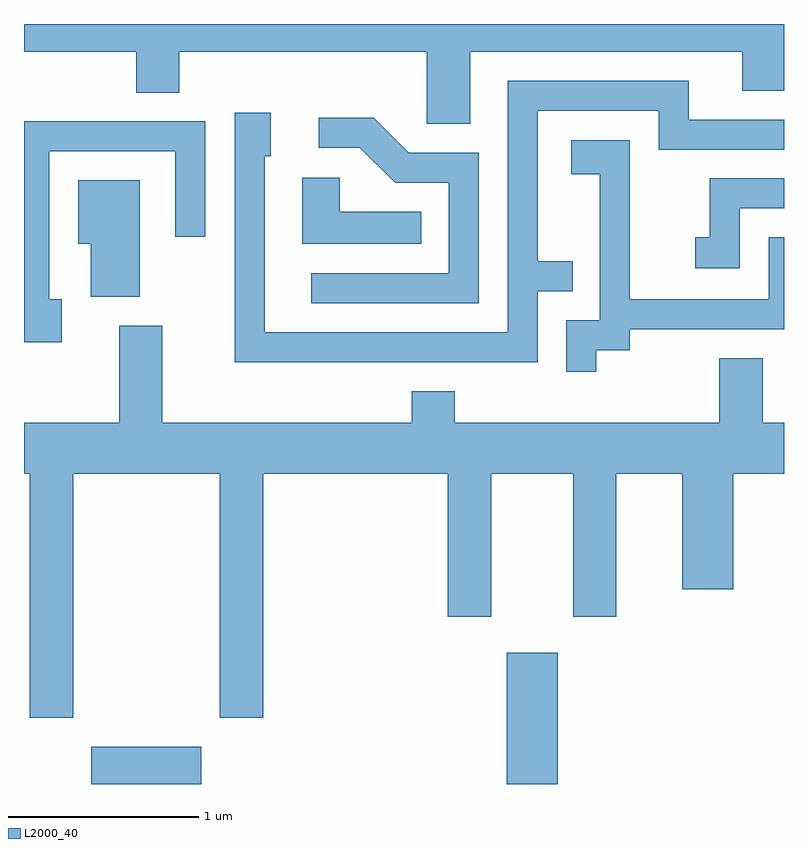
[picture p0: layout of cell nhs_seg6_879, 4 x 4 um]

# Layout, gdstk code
import gdstk
lib = gdstk.Library(unit=1e-6, precision=1e-09)
def R(c, l, rs):  # rectangles x0, y0, x1, y1
    for r in rs: c.add(gdstk.rectangle(r[:2], r[2:], *l))
def P(c, l, *ps):  # polygons
    for p in ps: c.add(gdstk.Polygon(p, *l))
L2000_40 = (2000, 40)

nhs_seg6_879 = lib.new_cell('nhs_seg6_879')
R(nhs_seg6_879, L2000_40, [(211.966,1566.162,212.544,1566.359), (214.151,1566.162,214.419,1566.854)])
P(nhs_seg6_879, L2000_40, [(213.959,1570.016),(215.391,1570.016),(215.391,1569.811),(215.611,1569.811),(215.611,1570.162),(211.611,1570.162),(211.611,1570.016),(212.201,1570.016),(212.201,1569.801),(212.429,1569.801),(212.429,1570.016),(213.731,1570.016),(213.731,1569.636),(213.959,1569.636)],
  [(214.314,1568.756),(214.498,1568.756),(214.498,1568.914),(214.314,1568.914),(214.314,1569.706),(214.951,1569.706),(214.951,1569.501),(215.611,1569.501),(215.611,1569.659),(215.109,1569.659),(215.109,1569.864),(214.156,1569.864),(214.156,1568.539),(212.879,1568.539),(212.879,1569.466),(212.909,1569.466),(212.909,1569.694),(212.721,1569.694),(212.721,1568.381),(214.314,1568.381)],
  [(214.004,1569.484),(213.637,1569.484),(213.452,1569.669),(213.163,1569.669),(213.163,1569.511),(213.379,1569.511),(213.564,1569.326),(213.846,1569.326),(213.846,1568.849),(213.123,1568.849),(213.123,1568.691),(214.004,1568.691)],
  [(211.809,1568.714),(211.744,1568.714),(211.744,1569.491),(212.406,1569.491),(212.406,1569.043),(212.564,1569.043),(212.564,1569.649),(211.611,1569.649),(211.611,1568.486),(211.809,1568.486)],
  [(214.624,1568.446),(214.799,1568.446),(214.799,1568.556),(215.611,1568.556),(215.611,1569.039),(215.531,1569.039),(215.531,1568.714),(214.799,1568.714),(214.799,1569.549),(214.491,1569.549),(214.491,1569.371),(214.641,1569.371),(214.641,1568.604),(214.466,1568.604),(214.466,1568.333),(214.624,1568.333)],
  [(213.703,1569.174),(213.274,1569.174),(213.274,1569.354),(213.076,1569.354),(213.076,1569.006),(213.703,1569.006)],
  [(215.379,1569.191),(215.611,1569.191),(215.611,1569.349),(215.221,1569.349),(215.221,1569.039),(215.143,1569.039),(215.143,1568.876),(215.379,1568.876)],
  [(212.219,1569.339),(211.896,1569.339),(211.896,1569.006),(211.961,1569.006),(211.961,1568.726),(212.219,1568.726)],
  [(211.869,1567.796),(212.641,1567.796),(212.641,1566.511),(212.869,1566.511),(212.869,1567.796),(213.841,1567.796),(213.841,1567.041),(214.069,1567.041),(214.069,1567.796),(214.501,1567.796),(214.501,1567.041),(214.729,1567.041),(214.729,1567.796),(215.076,1567.796),(215.076,1567.186),(215.344,1567.186),(215.344,1567.796),(215.611,1567.796),(215.611,1568.064),(215.499,1568.064),(215.499,1568.404),(215.271,1568.404),(215.271,1568.064),(213.879,1568.064),(213.879,1568.229),(213.651,1568.229),(213.651,1568.064),(212.339,1568.064),(212.339,1568.574),(212.111,1568.574),(212.111,1568.064),(211.611,1568.064),(211.611,1567.796),(211.641,1567.796),(211.641,1566.511),(211.869,1566.511)])

lib.write_gds('nhs_seg6_879.gds')
